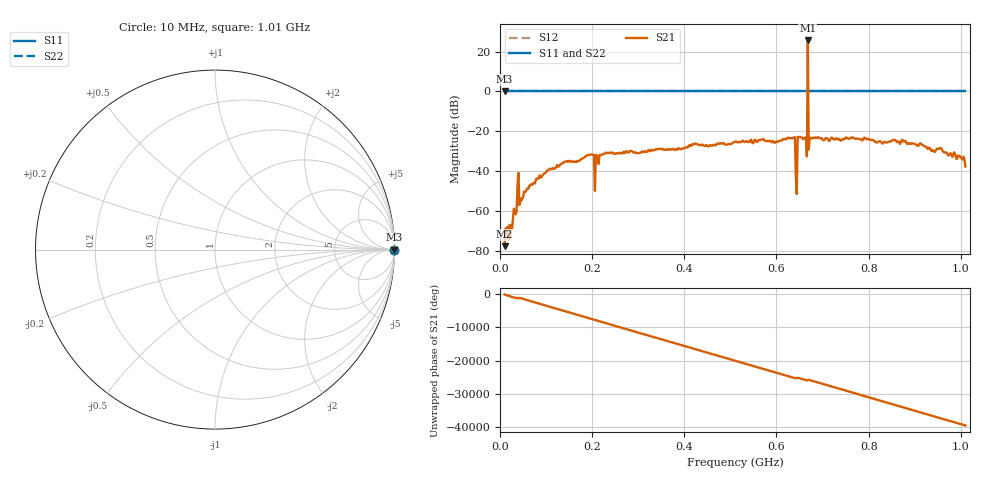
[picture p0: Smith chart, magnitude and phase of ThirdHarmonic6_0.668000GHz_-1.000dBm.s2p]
! 8/15/2025 10:14:16 PM
! C:\ANRITSUVNA\TEMP\TEMP.S2P
! CHANNEL.1
! TR.MEASUREMENT
! RAW.DATA
! RF.CORRECTION.OFF
! AVERAGING.OFF
! IF.BANDWIDTH: 5KHZ
! SWEEPTYPE:  FREQ.SWEEP(Linear)
! Reference Plane Port Info
! PORT:  PORT1  PORT2
! DISTANCE:  0  m  0  m
! TIME:  0  s  0  s
! PHASE.OFFSET:  0  deg.  0  deg.
! LOSS:  0  dB  0  dB
! REF.LOSS:  0  dB  0  dB
! REF.FREQ:  0  Hz  0  Hz
! Power Info
! POWER:  -20  dBm  -20  dBm
! EFF.POWER:  -20  dBm  -20  dBm
! SOURCE.ATTEN:  0  dB  0  dB
! TEST.ATTEN:  0  dB  0  dB
# GHZ S RI R 50.0
! FREQ.GHZ  S11RE  S11IM  S21RE  S21IM  S12RE  S12IM  S22RE  S22IM
!; PortSelection: Port_12
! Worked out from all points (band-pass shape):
!   501 points, 10 MHz to 1.01 GHz, reference 50 ohm
!   highest |S21| = 25.62 dB at 668 MHz (marker M1); lowest = -77.8 dB at 10 MHz (marker M2)
!   |S21| within 3 dB of the highest: 667.897 MHz to 668.1094 MHz (212.3 kHz wide, 0.0318 % of centre)
!   lowest |S11| = 0.0 dB at 10 MHz (marker M3)
!   |S11| at or under -10 dB: nowhere
!   |S22| runs from 0.0 to 0.0 dB; largest |S21 - S12| = 19
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0.01  1 0  -0.000115 -5.96e-05  1 0  1 0
0.022  1 0  0.000205 0.000135  1 0  1 0
0.042  1 0  0.000883 -0.00107  1 0  1 0
0.046  1 0  -0.00141 0.00105  1 0  1 0
0.106  1 0  -0.00837 -0.00668  1 0  1 0
0.178  1 0  -0.0203 -0.00139  1 0  1 0
0.21  1 0  0.0188 -0.0153  1 0  1 0
0.344  1 0  0.0301 -0.0197  1 0  1 0
0.51  1 0  -0.0325 0.0435  1 0  1 0
0.636  1 0  0.00454 0.0672  1 0  1 0
0.64  1 0  0.0118 -0.0696  1 0  1 0
0.646  1 0  0.0573 0.0449  1 0  1 0
0.65  1 0  -0.042 -0.0575  1 0  1 0
0.662  1 0  -0.0203 0.0658  1 0  1 0
0.664  1 0  0.062 0.0329  1 0  1 0
0.668  1 0  11.12 15.52  1 0  1 0
0.672  1 0  0.0357 0.0579  1 0  1 0
0.674  1 0  0.0615 -0.0219  1 0  1 0
0.678  1 0  -0.065 0.0113  1 0  1 0
0.844  1 0  0.0381 -0.0387  1 0  1 0
0.954  1 0  -0.0369 -0.00404  1 0  1 0
1.01  1 0  -0.00117 0.0129  1 0  1 0
